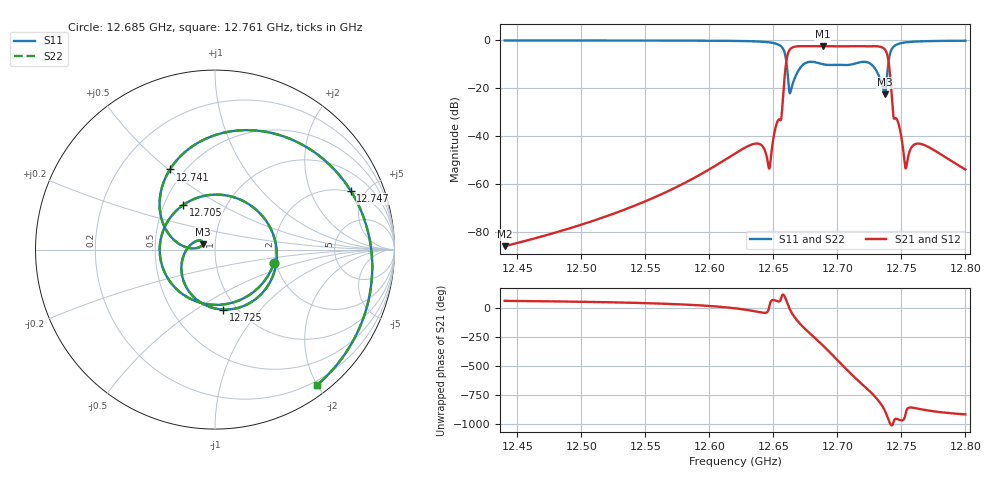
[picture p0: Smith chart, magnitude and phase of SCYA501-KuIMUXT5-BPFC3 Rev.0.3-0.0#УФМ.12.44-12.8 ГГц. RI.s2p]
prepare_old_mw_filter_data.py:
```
import argparse
import os
import skrf as rf
from filter import couplilng_matrix as cm
import copy
from filter.mwfilter import MWFilter


def get_filter_name(path_to_s_parameters: str) -> str:
    components = path_to_s_parameters.split('\\')
    filename = components[-1]
    filter_name = filename.split('.s2p')[0]
    return filter_name


def save_matrix_to_s2p_single_comment(matrix_indices, matrix_values):
    """
    Сохраняет .s2p файл с матрицей, записанной в один комментарий.
    """

    # Формируем строку вида: ! matrix = [m_0_1 = 1.23, m_1_2 = 0.56]
    elements = [f"m_{i}_{j} = {val:.6f}" for (i, j), val in zip(matrix_indices, matrix_values)]
    # matrix_comment = " matrix: [" + ", ".join(elements) + "]\n"
    matrix_comment = " matrix=[" + ", ".join(elements) + "]"
    return matrix_comment


def main():
    # Парсинг аргументов командной строки
    parser = argparse.ArgumentParser(description="Генератор .s2p файлов для добавления информации о МС и параметрах фильтра. Корректирует старые данные для использования их в обучении ИИ")
    parser.add_argument("-fr", "--freq_resp", type=str, default=os.getcwd()+"\\SCYA501-KuIMUXT5-BPFC3/SCYA501-KuIMUXT5-BPFC3 Rev.0.3-0.0#УФМ.12.44-12.8 ГГц. RI.s2p",
                        help="Путь к .s2p файлу с частотными характеристиками фильтра")
    parser.add_argument("-m", "--matrix", type=str, default=os.getcwd()+"\\SCYA501-KuIMUXT5-BPFC3/SCYA501-KuIMUXT5-BPFC3 Rev.0.3-0.0#Матрица связи.txt", help="Путь к файлу .txt с матрицей связи фильтра")
    parser.add_argument("-f0", "--center_freq", type=str, default="12000", help="Центральная частота фильтра в МГц")
    parser.add_argument("-bw", "--bandwidth", type=str, default="36", help="Ширина полосы пропускания фильтра в МГц")
    parser.add_argument("-q", "--quality_factor", type=str, default="6100", help="Значение добротности")
    parser.add_argument("-p", "--path_to_save", type=str, default=os.getcwd(), help="Путь для сохранения измененного файла")

    args = parser.parse_args()
    filter_name = get_filter_name(path_to_s_parameters=args.freq_resp)
    matrix = cm.CouplingMatrix.from_file(args.matrix)
    matrix_comment = save_matrix_to_s2p_single_comment(matrix_indices=matrix.links, matrix_values=matrix.factors)
    net = copy.deepcopy(rf.Network(args.freq_resp))
    # net.comments += " f0: " + args.center_freq + " MHz\n bw: " + args.bandwidth + " MHz\n Q: " + args.quality_factor + "\n N: " + str(matrix.matrix_order-2) + "\n" + matrix_comment
    net.comments += " Parameters = {f0=" + args.center_freq + "; bw=" + args.bandwidth + "; Q=" + args.quality_factor + "; N=" + str(matrix.matrix_order-2) + ";" + matrix_comment + "}"
    path_to_save = args.path_to_save + "\\" + filter_name+"_modify.s2p"
    print(f"Path to save file: {path_to_save}")
    net.write_touchstone(filename=path_to_save)
    # mwfilter = MWFilter(path_to_save)
    pass


if __name__ == "__main__":
    main()
```
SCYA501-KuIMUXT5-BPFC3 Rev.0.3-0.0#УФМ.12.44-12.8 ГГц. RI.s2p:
! AWR Design Environment (6079) Wed Aug 09 19:54:36 2023
! Simulator: Linear circuit simulator (flat)
! Ports: 2, Freqs: 3601
# GHz S RI R 50
!Freq  ReS11  ImS11  ReS21  ImS21  ReS12  ImS12  ReS22  ImS22
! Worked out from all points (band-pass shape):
!   3601 points, 12.44 GHz to 12.8 GHz, reference 50 ohm
!   highest |S21| = -2.40 dB at 12.688 GHz (marker M1); lowest = -86.1 dB at 12.44 GHz (marker M2)
!   |S21| within 3 dB of the highest: 12.661 GHz to 12.739 GHz (77.24 MHz wide, 0.608 % of centre)
!   lowest |S11| = -22.6 dB at 12.737 GHz (marker M3), VSWR 1.16, Z = 43.6 + j2.71 ohm
!   |S11| at or under -10 dB: 12.66037 GHz to 12.67359 GHz (13.22 MHz wide, 0.104 % of centre); 12.68902 GHz to 12.71151 GHz (22.49 MHz wide, 0.177 % of centre); 12.7264 GHz to 12.73972 GHz (13.32 MHz wide, 0.105 % of centre)
!   |S22| runs from -22.6 to 0.0 dB; largest |S21 - S12| = 0
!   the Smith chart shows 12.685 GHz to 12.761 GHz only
!   S11 on the Smith chart (normalised r, x): 12.685 GHz: 1.93, -0.34; 12.705 GHz: 0.63, +0.34; 12.725 GHz: 0.87, -0.65; 12.741 GHz: 0.42, +0.51; 12.747 GHz: 1.93, +3.94; 12.761 GHz: 0.14, -2.00
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12.44  -0.9063 0.4183  2.15e-05 4.49e-05  2.15e-05 4.49e-05  -0.9063 0.4183
12.62  -0.0379 0.9754  0.00431 -5.27e-06  0.00431 -5.27e-06  -0.0379 0.9754
12.6851  0.3273 -0.0771  0.187 0.7335  0.187 0.7335  0.3273 -0.0771
12.6884  0.2129 -0.2373  0.5717 0.4985  0.5717 0.4985  0.2129 -0.2373
12.7049  -0.1775 0.2485  -0.6143 -0.4356  -0.6143 -0.4356  -0.1775 0.2485
12.7248  0.0459 -0.3341  0.7493 0.0759  0.7493 0.0759  0.0459 -0.3341
12.7371  -0.0674 0.0309  -0.6322 -0.1396  -0.6322 -0.1396  -0.0674 0.0309
12.741  -0.2512 0.4464  0.0165 0.2095  0.0165 0.2095  -0.2512 0.4464
12.7466  0.7567 0.3268  -0.0113 0.0189  -0.0113 0.0189  0.7567 0.3268
12.7605  0.5684 -0.7549  -0.00549 -0.00389  -0.00549 -0.00389  0.5684 -0.7549
12.8  -0.3655 -0.916  -0.00188 0.000666  -0.00188 0.000666  -0.3655 -0.916
